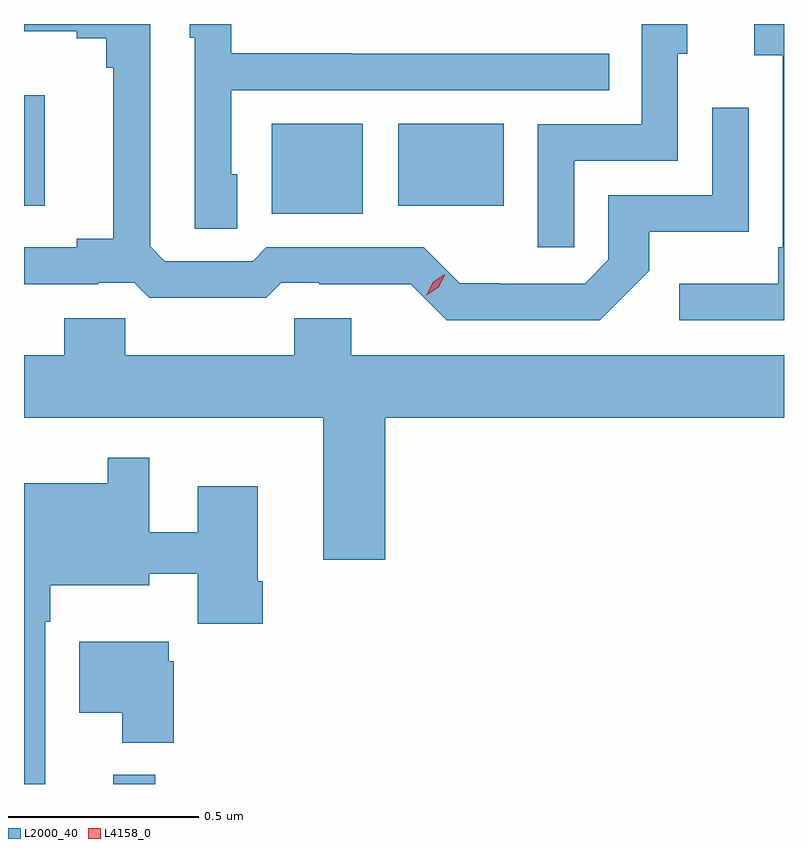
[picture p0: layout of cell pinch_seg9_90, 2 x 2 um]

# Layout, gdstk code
import gdstk
lib = gdstk.Library(unit=1e-6, precision=1e-09)
def R(c, l, rs):  # rectangles x0, y0, x1, y1
    for r in rs: c.add(gdstk.rectangle(r[:2], r[2:], *l))
def P(c, l, *ps):  # polygons
    for p in ps: c.add(gdstk.Polygon(p, *l))
L2000_40 = (2000, 40)
L4158_0 = (4158, 0)

pinch_seg9_90 = lib.new_cell('pinch_seg9_90')
R(pinch_seg9_90, L2000_40, [(1111.508,1198.12,1111.618,1198.144), (1111.925,1199.621,1112.164,1199.857), (1111.273,1199.642,1111.327,1199.932), (1112.258,1199.642,1112.536,1199.857)])
P(pinch_seg9_90, L2000_40, [(1112.919,1199.471),(1112.919,1199.573),(1113.18,1199.573),(1113.18,1199.899),(1113.084,1199.899),(1113.084,1199.67),(1112.811,1199.67),(1112.811,1199.499),(1112.748,1199.436),(1112.524,1199.436),(1112.524,1199.438),(1112.42,1199.438),(1112.325,1199.532),(1111.911,1199.532),(1111.875,1199.496),(1111.644,1199.496),(1111.605,1199.535),(1111.605,1200.12),(1111.273,1200.12),(1111.273,1200.101),(1111.412,1200.101),(1111.412,1200.082),(1111.489,1200.082),(1111.489,1200.005),(1111.508,1200.005),(1111.508,1199.555),(1111.412,1199.555),(1111.412,1199.532),(1111.273,1199.532),(1111.273,1199.435),(1111.469,1199.435),(1111.469,1199.439),(1111.563,1199.439),(1111.603,1199.4),(1111.911,1199.4),(1111.95,1199.439),(1112.05,1199.439),(1112.05,1199.435),(1112.291,1199.435),(1112.385,1199.34),(1112.788,1199.34)],
  [(1113.273,1200.12),(1113.195,1200.12),(1113.195,1200.038),(1113.27,1200.038),(1113.27,1199.533),(1113.258,1199.533),(1113.258,1199.437),(1112.997,1199.437),(1112.997,1199.34),(1113.273,1199.34)],
  [(1112.721,1199.76),(1112.994,1199.76),(1112.994,1200.042),(1113.019,1200.042),(1113.019,1200.12),(1112.898,1200.12),(1112.898,1199.856),(1112.625,1199.856),(1112.625,1199.532),(1112.721,1199.532)],
  [(1111.834,1199.724),(1111.818,1199.724),(1111.818,1199.946),(1112.813,1199.946),(1112.813,1200.042),(1112.135,1200.042),(1112.135,1200.043),(1111.818,1200.043),(1111.818,1200.12),(1111.709,1200.12),(1111.709,1200.084),(1111.722,1200.084),(1111.722,1199.581),(1111.834,1199.581)],
  [(1112.224,1199.084),(1113.273,1199.084),(1113.273,1199.248),(1112.134,1199.248),(1112.134,1199.346),(1111.984,1199.346),(1111.984,1199.248),(1111.539,1199.248),(1111.539,1199.346),(1111.379,1199.346),(1111.379,1199.248),(1111.273,1199.248),(1111.273,1199.084),(1112.06,1199.084),(1112.06,1198.71),(1112.224,1198.71)],
  [(1111.329,1198.547),(1111.342,1198.547),(1111.342,1198.643),(1111.603,1198.643),(1111.603,1198.673),(1111.73,1198.673),(1111.73,1198.542),(1111.901,1198.542),(1111.901,1198.654),(1111.888,1198.654),(1111.888,1198.903),(1111.73,1198.903),(1111.73,1198.783),(1111.602,1198.783),(1111.602,1198.978),(1111.494,1198.978),(1111.494,1198.912),(1111.273,1198.912),(1111.273,1198.12),(1111.329,1198.12)],
  [(1111.667,1198.443),(1111.654,1198.443),(1111.654,1198.495),(1111.418,1198.495),(1111.418,1198.307),(1111.532,1198.307),(1111.532,1198.229),(1111.667,1198.229)])
P(pinch_seg9_90, L4158_0, [(1112.332,1199.406),(1112.332,1199.406),(1112.349,1199.44),(1112.38,1199.461),(1112.38,1199.461),(1112.38,1199.46),(1112.364,1199.427),(1112.333,1199.406)])

lib.write_gds('pinch_seg9_90.gds')
